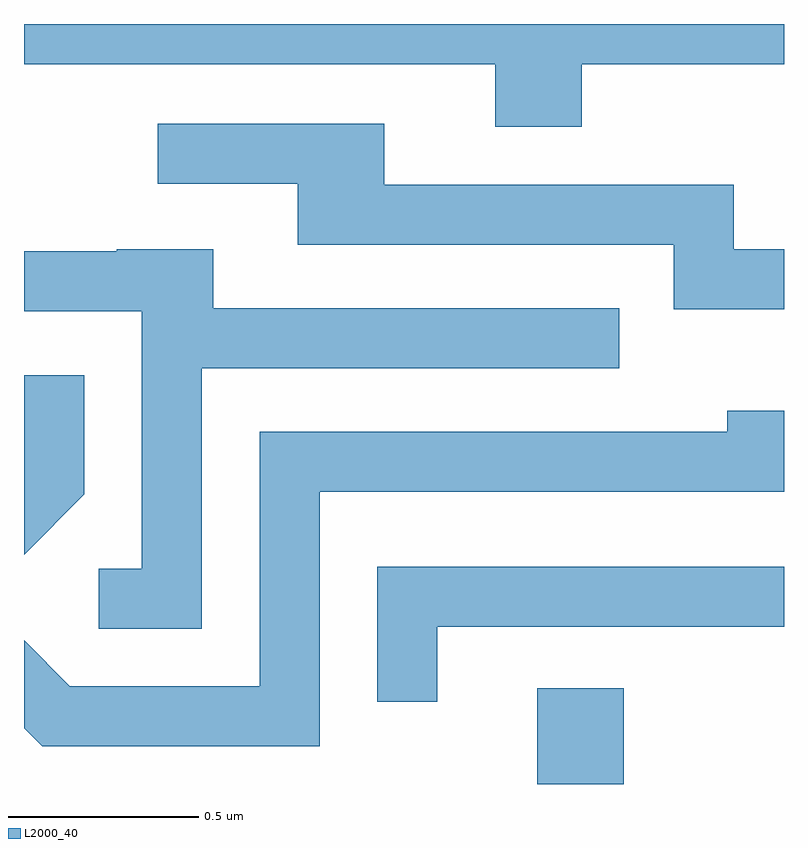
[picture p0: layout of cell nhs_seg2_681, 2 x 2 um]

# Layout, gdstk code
import gdstk
lib = gdstk.Library(unit=1e-6, precision=1e-09)
def R(c, l, rs):  # rectangles x0, y0, x1, y1
    for r in rs: c.add(gdstk.rectangle(r[:2], r[2:], *l))
def P(c, l, *ps):  # polygons
    for p in ps: c.add(gdstk.Polygon(p, *l))
L2000_40 = (2000, 40)

nhs_seg2_681 = lib.new_cell('nhs_seg2_681')
R(nhs_seg2_681, L2000_40, [(190.961,1110.802,191.189,1111.054)])
P(nhs_seg2_681, L2000_40, [(191.079,1112.696),(191.611,1112.696),(191.611,1112.802),(189.611,1112.802),(189.611,1112.696),(190.851,1112.696),(190.851,1112.531),(191.079,1112.531)],
  [(191.611,1112.209),(191.479,1112.209),(191.479,1112.379),(190.559,1112.379),(190.559,1112.539),(189.963,1112.539),(189.963,1112.381),(190.331,1112.381),(190.331,1112.221),(191.321,1112.221),(191.321,1112.051),(191.611,1112.051)],
  [(190.079,1111.896),(191.178,1111.896),(191.178,1112.054),(190.109,1112.054),(190.109,1112.209),(189.855,1112.209),(189.855,1112.204),(189.611,1112.204),(189.611,1112.046),(189.921,1112.046),(189.921,1111.369),(189.808,1111.369),(189.808,1111.211),(190.079,1111.211)],
  [(189.769,1111.564),(189.769,1111.878),(189.611,1111.878),(189.611,1111.405)],
  [(190.389,1111.571),(191.611,1111.571),(191.611,1111.784),(191.461,1111.784),(191.461,1111.729),(190.231,1111.729),(190.231,1111.059),(189.732,1111.059),(189.611,1111.18),(189.611,1110.949),(189.659,1110.901),(190.389,1110.901)],
  [(190.699,1111.216),(191.611,1111.216),(191.611,1111.374),(190.541,1111.374),(190.541,1111.018),(190.699,1111.018)])

lib.write_gds('nhs_seg2_681.gds')
